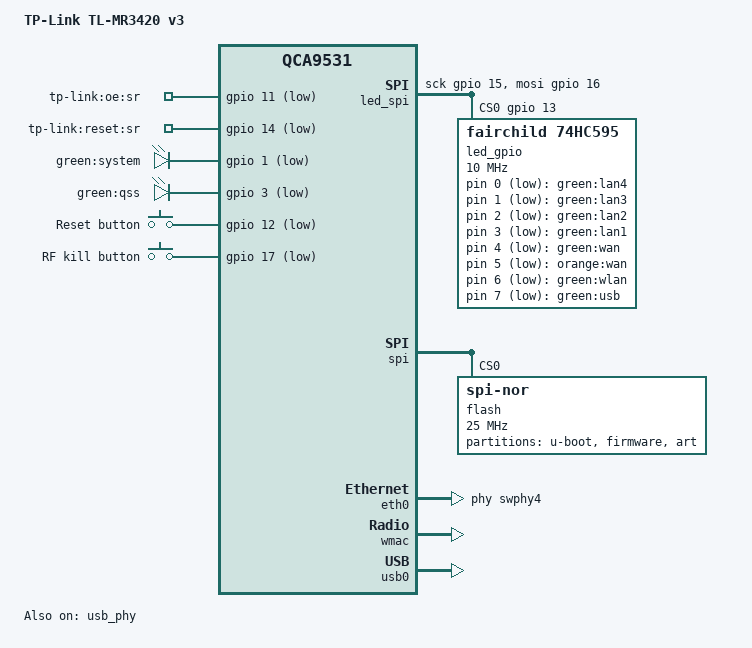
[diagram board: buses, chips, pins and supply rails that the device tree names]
// SPDX-License-Identifier: GPL-2.0-or-later OR MIT

#include "qca953x.dtsi"

#include <dt-bindings/gpio/gpio.h>
#include <dt-bindings/input/input.h>

/ {
	compatible = "tplink,tl-mr3420-v3", "qca,qca9531";
	model = "TP-Link TL-MR3420 v3";

	aliases {
		led-boot = &led_system;
		led-failsafe = &led_system;
		led-running = &led_system;
		led-upgrade = &led_system;
		label-mac-device = &wmac;

	};

	led_spi {
		compatible = "spi-gpio";
		#address-cells = <1>;
		#size-cells = <0>;

		sck-gpios = <&gpio 15 GPIO_ACTIVE_HIGH>;
		mosi-gpios = <&gpio 16 GPIO_ACTIVE_HIGH>;
		cs-gpios = <&gpio 13 GPIO_ACTIVE_HIGH>;
		num-chipselects = <1>;

		led_gpio: led_gpio@0 {
			compatible = "fairchild,74hc595";
			reg = <0>;
			gpio-controller;
			#gpio-cells = <2>;
			registers-number = <1>;
			spi-max-frequency = <10000000>;
		};
	};

	gpio-export {
		compatible = "gpio-export";

		gpio_shift_register_oe {
			gpio-export,name = "tp-link:oe:sr";
			gpio-export,output = <0>;
			gpios = <&gpio 11 GPIO_ACTIVE_LOW>;
		};

		gpio_shift_register_reset {
			gpio-export,name = "tp-link:reset:sr";
			gpio-export,output = <1>;
			gpios = <&gpio 14 GPIO_ACTIVE_LOW>;
		};
	};

	leds {
		compatible = "gpio-leds";

		led_system: system {
			label = "green:system";
			gpios = <&gpio 1 GPIO_ACTIVE_LOW>;
			default-state = "on";
		};

		lan4 {
			label = "green:lan4";
			gpios = <&led_gpio 0 GPIO_ACTIVE_LOW>;
		};

		lan3 {
			label = "green:lan3";
			gpios = <&led_gpio 1 GPIO_ACTIVE_LOW>;
		};

		lan2 {
			label = "green:lan2";
			gpios = <&led_gpio 2 GPIO_ACTIVE_LOW>;
		};

		lan1 {
			label = "green:lan1";
			gpios = <&led_gpio 3 GPIO_ACTIVE_LOW>;
		};

		wan {
			label = "green:wan";
			gpios = <&led_gpio 4 GPIO_ACTIVE_LOW>;
		};

		wan_fail {
			label = "orange:wan";
			gpios = <&led_gpio 5 GPIO_ACTIVE_LOW>;
		};

		wlan {
			label = "green:wlan";
			gpios = <&led_gpio 6 GPIO_ACTIVE_LOW>;
			linux,default-trigger = "phy0tpt";
		};

		usb {
			label = "green:usb";
			gpios = <&led_gpio 7 GPIO_ACTIVE_LOW>;
			trigger-sources = <&hub_port>;
			linux,default-trigger = "usbport";
		};

		qss {
			label = "green:qss";
			gpios = <&gpio 3 GPIO_ACTIVE_LOW>;
		};
	};

	keys {
		compatible = "gpio-keys";

		reset {
			label = "Reset button";
			linux,code = <KEY_RESTART>;
			gpios = <&gpio 12 GPIO_ACTIVE_LOW>;
			debounce-interval = <60>;
		};

		rfkill {
			label = "RF kill button";
			linux,code = <KEY_RFKILL>;
			gpios = <&gpio 17 GPIO_ACTIVE_LOW>;
			debounce-interval = <60>;
		};
	};

};

&spi {
	status = "okay";

	flash@0 {
		compatible = "jedec,spi-nor";
		reg = <0>;
		spi-max-frequency = <25000000>;

		partitions {
			compatible = "fixed-partitions";
			#address-cells = <1>;
			#size-cells = <1>;

			uboot: partition@0 {
				label = "u-boot";
				reg = <0x000000 0x020000>;
				read-only;
			};

			partition@20000 {
				compatible = "tplink,firmware";
				label = "firmware";
				reg = <0x020000 0x3d0000>;
			};

			art: partition@3f0000 {
				label = "art";
				reg = <0x3f0000 0x010000>;
				read-only;
			};
		};
	};
};

&eth0 {
	status = "okay";

	phy-handle = <&swphy4>;

	nvmem-cells = <&macaddr_uboot_1fc00>;
	nvmem-cell-names = "mac-address";
	mac-address-increment = <1>;
};

&eth1 {
	nvmem-cells = <&macaddr_uboot_1fc00>;
	nvmem-cell-names = "mac-address";
};

&wmac {
	status = "okay";

	mtd-cal-data = <&art 0x1000>;
	nvmem-cells = <&macaddr_uboot_1fc00>;
	nvmem-cell-names = "mac-address";
};

&usb0 {
	#address-cells = <1>;
	#size-cells = <0>;
	status = "okay";

	hub_port: port@1 {
		reg = <1>;
		#trigger-source-cells = <0>;
	};
};

&usb_phy {
	status = "okay";
};

&uboot {
	compatible = "nvmem-cells";
	#address-cells = <1>;
	#size-cells = <1>;

	macaddr_uboot_1fc00: macaddr@1fc00 {
		reg = <0x1fc00 0x6>;
	};
};
